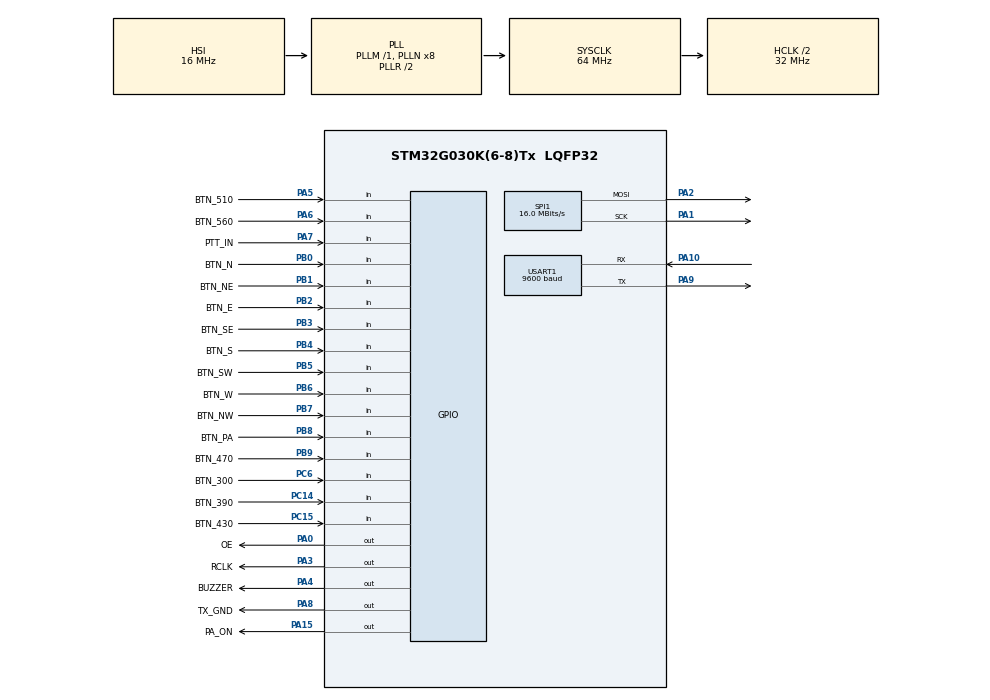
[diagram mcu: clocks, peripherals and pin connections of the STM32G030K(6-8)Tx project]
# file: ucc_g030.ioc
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Mcu.Family=STM32G0
Mcu.Name=STM32G030K(6-8)Tx
Mcu.Package=LQFP32
NVIC.TIM17_IRQn=true\:0\:0\:false\:false\:true\:true\:true\:true
NVIC.USART1_IRQn=true\:0\:0\:false\:false\:true\:true\:true\:true
PA0.GPIO_Label=OE
PA0.Signal=GPIO_Output
PA1.Mode=TX_Only_Simplex_Unidirect_Master
PA1.Signal=SPI1_SCK
PA10\ [PA12].Mode=Asynchronous
PA10\ [PA12].Signal=USART1_RX
PA13.Mode=Serial_Wire
PA13.Signal=SYS_SWDIO
PA14-BOOT0.Mode=Serial_Wire
PA14-BOOT0.Signal=SYS_SWCLK
PA15.GPIO_Label=PA_ON
PA15.Signal=GPIO_Output
PA2.Mode=TX_Only_Simplex_Unidirect_Master
PA2.Signal=SPI1_MOSI
PA3.GPIO_Label=RCLK
PA3.Signal=GPIO_Output
PA4.GPIO_Label=BUZZER
PA4.Signal=GPIO_Output
PA5.GPIO_Label=BTN_510
PA5.GPIO_PuPd=GPIO_PULLUP
PA5.Signal=GPIO_Input
PA6.GPIO_Label=BTN_560
PA6.GPIO_PuPd=GPIO_PULLUP
PA6.Signal=GPIO_Input
PA7.GPIO_Label=PTT_IN
PA7.GPIO_PuPd=GPIO_PULLUP
PA7.Signal=GPIO_Input
PA8.GPIO_Label=TX_GND
PA8.Signal=GPIO_Output
PA9\ [PA11].Mode=Asynchronous
PA9\ [PA11].Signal=USART1_TX
PB0.GPIO_Label=BTN_N
PB0.GPIO_PuPd=GPIO_PULLUP
PB0.Signal=GPIO_Input
PB1.GPIO_Label=BTN_NE
PB1.GPIO_PuPd=GPIO_PULLUP
PB1.Signal=GPIO_Input
PB2.GPIO_Label=BTN_E
PB2.GPIO_PuPd=GPIO_PULLUP
PB2.Signal=GPIO_Input
PB3.GPIO_Label=BTN_SE
PB3.GPIO_PuPd=GPIO_PULLUP
PB3.Signal=GPIO_Input
PB4.GPIO_Label=BTN_S
PB4.GPIO_PuPd=GPIO_PULLUP
PB4.Signal=GPIO_Input
PB5.GPIO_Label=BTN_SW
PB5.GPIO_PuPd=GPIO_PULLUP
PB5.Signal=GPIO_Input
PB6.GPIO_Label=BTN_W
PB6.GPIO_PuPd=GPIO_PULLUP
PB6.Signal=GPIO_Input
PB7.GPIO_Label=BTN_NW
PB7.GPIO_PuPd=GPIO_PULLUP
PB7.Signal=GPIO_Input
PB8.GPIO_Label=BTN_PA
PB8.GPIO_PuPd=GPIO_PULLUP
PB8.Signal=GPIO_Input
PB9.GPIO_Label=BTN_470
PB9.GPIO_PuPd=GPIO_PULLUP
PB9.Signal=GPIO_Input
PC14-OSC32_IN\ (PC14).GPIO_Label=BTN_390
PC14-OSC32_IN\ (PC14).GPIO_PuPd=GPIO_PULLUP
PC14-OSC32_IN\ (PC14).Signal=GPIO_Input
PC15-OSC32_OUT\ (PC15).GPIO_Label=BTN_430
PC15-OSC32_OUT\ (PC15).GPIO_PuPd=GPIO_PULLUP
PC15-OSC32_OUT\ (PC15).Signal=GPIO_Input
PC6.GPIO_Label=BTN_300
PC6.GPIO_PuPd=GPIO_PULLUP
PC6.Signal=GPIO_Input
ProjectManager.HeapSize=0x200
ProjectManager.StackSize=0x400
ProjectManager.TargetToolchain=STM32CubeIDE
RCC.ADCFreq_Value=64000000
RCC.AHBCLKDivider=RCC_SYSCLK_DIV2
RCC.AHBFreq_Value=32000000
RCC.CortexFreq_Value=32000000
RCC.EXTERNAL_CLOCK_VALUE=12288000
RCC.HCLKFreq_Value=32000000
RCC.HSE_VALUE=8000000
RCC.HSI_VALUE=16000000
RCC.LSE_VALUE=32768
RCC.SYSCLKFreq_VALUE=64000000
RCC.SYSCLKSource=RCC_SYSCLKSOURCE_PLLCLK
RCC.VCOOutputFreq_Value=128000000
SPI1.CalculateBaudRate=16.0 MBits/s
SPI1.Direction=SPI_DIRECTION_2LINES
SPI1.Mode=SPI_MODE_MASTER
SPI1.VirtualType=VM_MASTER
TIM17.AutoReloadPreload=TIM_AUTORELOAD_PRELOAD_ENABLE
TIM17.Period=499
TIM17.Prescaler=31999
USART1.BaudRate=9600
USART1.VirtualMode-Asynchronous=VM_ASYNC
VP_SYS_VS_PINREMAP.Mode=PINREMAP
VP_SYS_VS_PINREMAP_10_12.Mode=PINREMAP_10_12
VP_TIM17_VS_ClockSourceINT.Mode=Enable_Timer
board=custom

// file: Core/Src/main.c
/* USER CODE BEGIN Header */
/**
  ******************************************************************************
  * @file           : main.c
  * @brief          : Main program body
  ******************************************************************************
  * @attention
  *
  * Copyright (c) 2025 STMicroelectronics.
  * All rights reserved.
  *
  * This software is licensed under terms that can be found in the LICENSE file
  * in the root directory of this software component.
  * If no LICENSE file comes with this software, it is provided AS-IS.
  *
  ******************************************************************************
  */
/* USER CODE END Header */
#include "main.h"

SPI_HandleTypeDef hspi1;

void SystemClock_Config(void);
static void MX_GPIO_Init(void);
static void MX_SPI1_Init(void);
static void MX_USART1_UART_Init(void);
static void MX_TIM17_Init(void);
/* USER CODE BEGIN PFP */
void USART1_Send_String (char* str);
char* ConvertGradusToChar (uint32_t degree);
void Check_Usart_Data();
void USART1_Send (char chr);
uint32_t ConvertCharToGradus(char * buffer);
void Send_Azimuth_to_USART(int az);
uint8_t Button_Pressed(uint8_t btn_id);
void Init_Buttons();
void Buttons_Poll(void);
void Set_N(void);
void Set_NE(void);
void Set_E(void);
void Set_SE(void);
void Set_S(void);
void Set_SW(void);
void Set_W(void);
void Set_NW(void);
void Set_300(void);
void Set_390(void);
void Set_430(void);
void Set_470(void);
void Set_510(void);
void Set_560(void);
void Set_PA(void);
void Check_PTT(void);

/* USER CODE END PFP */

/* USER CODE BEGIN 0 */
uint8_t relay_outs[1] = {0};
uint8_t load_outs[1] = {0};
uint8_t udn_outs[1] = {0};
uint8_t led_outs[1] = {0};
uint8_t flag_stop = 0;
uint8_t flag_status = 0;
uint8_t flag_move = 0;
uint8_t flag_set_settings = 0;
uint8_t flag_get_settings = 0;
int current_azimuth = 0;
char rx_buffer[32];
uint8_t current_outs_settings[8];
static uint8_t pa_previous_state = 0;
static uint8_t ptt_active = 0;

uint8_t button_settings[8] = {1, 2, 4, 8, 16, 32, 64, 128};

#define BUTTON_COUNT 15
#define DEBOUNCE_MS 25
#define POLL_INTERVAL_MS 5

typedef struct {
  GPIO_TypeDef* port;
  uint32_t pin;
  uint8_t state;
  uint8_t prev_state;
  uint32_t last_change;
} Button;

static Button buttons[BUTTON_COUNT];
static uint32_t system_tick = 0;

// Объявляем тип для функций-обработчиков
typedef void (*ButtonHandler)(void);

// Массив обработчиков для каждой кнопки
static const ButtonHandler button_handlers[] = {
  Set_N,   // 0
  Set_NE,  // 1
  Set_E,   // 2
  Set_SE,  // 3
  Set_S,   // 4
  Set_SW,  // 5
  Set_W,   // 6
  Set_NW,  // 7
  Set_300, // 8
  Set_390, // 9
  Set_430, // 10
  Set_470, // 11
  Set_510, // 12
  Set_560, // 13
  Set_PA   // 14
};

#define SETTINGS_FLASH_ADDR  0x0800F800  // Последняя страница 2KB Flash
#define SETTINGS_MAGIC_NUM   0xAA55BB66  // Маркер валидности данных

typedef struct {
  uint32_t magic;      // Маркер валидности
  uint8_t btn_values[8]; // Значения кнопок (0-255)
  uint32_t crc32;      // Контрольная сумма
} ButtonSettings;

uint32_t Calculate_CRC32(const uint8_t* data, size_t length) {
  uint32_t crc = 0xFFFFFFFF;
  for (size_t i = 0; i < length; i++) {
    crc ^= data[i];
    for (int j = 0; j < 8; j++) {
      crc = (crc >> 1) ^ (0xEDB88320 & -(crc & 1));
    }
  }
  return ~crc;
}

HAL_StatusTypeDef Save_Button_Settings(const uint8_t* values) {
  ButtonSettings settings;

  // Подготовка структуры
  settings.magic = SETTINGS_MAGIC_NUM;
  memcpy(settings.btn_values, values, 8);
  settings.crc32 = Calculate_CRC32((uint8_t*)&settings, sizeof(ButtonSettings)-4);

  // Стирание страницы
  HAL_FLASH_Unlock();
  FLASH_EraseInitTypeDef erase = {
    .TypeErase = FLASH_TYPEERASE_PAGES,
    .Page = (SETTINGS_FLASH_ADDR - FLASH_BASE) / FLASH_PAGE_SIZE,
    .NbPages = 1
};
  uint32_t page_error;
  HAL_FLASHEx_Erase(&erase, &page_error);

  // Запись данных
  uint64_t* data = (uint64_t*)&settings;
  for (int i = 0; i < sizeof(ButtonSettings)/8; i++) {
    HAL_FLASH_Program(FLASH_TYPEPROGRAM_DOUBLEWORD,
                    SETTINGS_FLASH_ADDR + i*8,
                    data[i]);
  }
  HAL_FLASH_Lock();

  return HAL_OK;
}

HAL_StatusTypeDef Load_Button_Settings(uint8_t* values) {
  ButtonSettings* settings = (ButtonSettings*)SETTINGS_FLASH_ADDR;

  // Проверка маркера и CRC
  if (settings->magic != SETTINGS_MAGIC_NUM ||
      settings->crc32 != Calculate_CRC32((uint8_t*)settings, sizeof(ButtonSettings)-4)) {
    return HAL_ERROR; // Данные невалидны
      }

  memcpy(values, settings->btn_values, 8);
  return HAL_OK;
}

void Beep(uint32_t duration_ms) {
  LL_GPIO_SetOutputPin(BUZZER_GPIO_Port, BUZZER_Pin);
  LL_mDelay(duration_ms);
  LL_GPIO_ResetOutputPin(BUZZER_GPIO_Port, BUZZER_Pin);
}

void Buttons_Poll(void) {
  system_tick += POLL_INTERVAL_MS;
  if (system_tick >= UINT32_MAX - POLL_INTERVAL_MS) system_tick = 0;
}

void Init_Buttons(void) {
  // Конфигурация всех кнопок
  const struct {
    GPIO_TypeDef* port;
    uint32_t pin;
  } button_configs[] = {
    [0] = {BTN_N_GPIO_Port, BTN_N_Pin},
    [1] = {BTN_NE_GPIO_Port, BTN_NE_Pin},
    [2] = {BTN_E_GPIO_Port, BTN_E_Pin},
    [3] = {BTN_SE_GPIO_Port, BTN_SE_Pin},
    [4] = {BTN_S_GPIO_Port, BTN_S_Pin},
    [5] = {BTN_SW_GPIO_Port, BTN_SW_Pin},
    [6] = {BTN_W_GPIO_Port, BTN_W_Pin},
    [7] = {BTN_NW_GPIO_Port, BTN_NW_Pin},
    [8] = {BTN_300_GPIO_Port, BTN_300_Pin},
    [9] = {BTN_390_GPIO_Port, BTN_390_Pin},
    [10] = {BTN_430_GPIO_Port, BTN_430_Pin},
    [11] = {BTN_470_GPIO_Port, BTN_470_Pin},
    [12] = {BTN_510_GPIO_Port, BTN_510_Pin},
    [13] = {BTN_560_GPIO_Port, BTN_560_Pin},
    [14] = {BTN_PA_GPIO_Port, BTN_PA_Pin}
  };
  const uint8_t button_count = sizeof(button_configs)/sizeof(button_configs[0]);
  for (uint8_t i = 0; i < button_count; i++) {
    buttons[i] = (Button){
      .port = button_configs[i].port,
      .pin = button_configs[i].pin,
      .state = 0,          // Исходное состояние - не нажата
      .prev_state = 0,     // Предыдущее состояние - не нажата
      .last_change = 0     // Время последнего изменения
    };
  }
}

// Проверка нажатия кнопки (возвращает 1 при нажатии)
uint8_t Button_Pressed(uint8_t btn_id) {
  if (btn_id >= BUTTON_COUNT) return 0;

  Button* btn = &buttons[btn_id];
  uint8_t current = LL_GPIO_IsInputPinSet(btn->port, btn->pin) ? 0 : 1;

  // Если состояние изменилось
  if (current != btn->prev_state) {
    btn->last_change = system_tick;
    btn->prev_state = current;
  }
  // Если состояние стабильно дольше времени дребезга
  else if ((system_tick - btn->last_change) >= DEBOUNCE_MS) {
    if (current && !btn->state) {
      btn->state = current;
      return 1;
    }
    btn->state = current;
  }

  return 0;
}

uint32_t ConvertCharToGradus(char* buffer) {
  uint32_t result = (buffer[1] - '0') * 100 +
                   (buffer[2] - '0') * 10 +
                   (buffer[3] - '0');
  memset(buffer, 0, 6);
  return result;
}

char* ConvertGradusToChar(uint32_t degree)
{
  static char result[10];
  degree = degree % 1000;
  snprintf(result, sizeof(result), "+0%03d\r\n", degree);
  return result;
}

void Send_Azimuth_to_USART(int az) {
  if (((az>=0) && (az<= 22)) ||(az > 337)&&(az<=360))
    current_azimuth = 0;
  if ((az>=23) && (az<= 67))
    current_azimuth = 45;
  if ((az>=68) && (az<= 112))
    current_azimuth = 90;
  if ((az>=113) && (az<= 157))
    current_azimuth = 135;
  if ((az>=158) && (az<= 202))
    current_azimuth = 180;
  if ((az>=203) && (az<= 247))
    current_azimuth = 225;
  if ((az>=248) && (az<= 292))
    current_azimuth = 270;
  if ((az>=293) && (az<= 337))
    current_azimuth = 315;
  USART1_Send_String(ConvertGradusToChar(current_azimuth));
}

void Check_Usart_Data()
{
  if (flag_status)
  {
    char debug_msg[64];
    flag_status = 0;
    memset(rx_buffer, 0, sizeof(rx_buffer));
    USART1_Send_String(ConvertGradusToChar(current_azimuth));
  }
  else if (flag_move)
  {
    int azimuth_from_usart = 0;
    flag_move = 0;
    azimuth_from_usart = ConvertCharToGradus(rx_buffer);
    Send_Azimuth_to_USART(azimuth_from_usart);
    switch (current_azimuth){
      case 0: Set_N(); break;
      case 45: Set_NE(); break;
      case 90: Set_E(); break;
      case 135: Set_SE(); break;
      case 180: Set_S(); break;
      case 225: Set_SW(); break;
      case 270: Set_W(); break;
      case 315: Set_NW(); break;
    }
  }
  else if (flag_stop)
  {
    flag_stop = 0;
  }
  else if (flag_set_settings){
    flag_set_settings = 0;
    if (Save_Button_Settings(current_outs_settings) == HAL_OK) {
      USART1_Send_String("OK: Settings saved\n");
    } else {
      USART1_Send_String("ERR: Save failed\n");
    }
    USART1_Send_String("Values:");
    for (int i = 0; i < 8; i++) {
      char buf[10];
      snprintf(buf, sizeof(buf), " %d", current_outs_settings[i]);
      USART1_Send_String(buf);
    }
    USART1_Send_String("\n");
    Beep(50);
  }
  else if (flag_get_settings) {
    flag_get_settings = 0;
    if (Load_Button_Settings(button_settings) != HAL_OK) {
      memset(button_settings, 0, 8);
    }
    USART1_Send_String("Values:");
    for (int i = 0; i < 8; i++) {
      char buf[10];
      snprintf(buf, sizeof(buf), " %d", current_outs_settings[i]);
      USART1_Send_String(buf);
    }
    USART1_Send_String("\n");
  }
}

void Say_Hi(void) {
  LL_GPIO_SetOutputPin(BUZZER_GPIO_Port, BUZZER_Pin);
  LL_mDelay(50);
  LL_GPIO_ResetOutputPin(BUZZER_GPIO_Port, BUZZER_Pin);
  LL_mDelay(50);
  LL_GPIO_SetOutputPin(BUZZER_GPIO_Port, BUZZER_Pin);
  LL_mDelay(50);
  LL_GPIO_ResetOutputPin(BUZZER_GPIO_Port, BUZZER_Pin);
  LL_mDelay(50);
  LL_GPIO_SetOutputPin(BUZZER_GPIO_Port, BUZZER_Pin);
  LL_mDelay(50);
  LL_GPIO_ResetOutputPin(BUZZER_GPIO_Port, BUZZER_Pin);
  LL_mDelay(50);
  LL_GPIO_SetOutputPin(BUZZER_GPIO_Port, BUZZER_Pin);
  LL_mDelay(50);
  LL_GPIO_ResetOutputPin(BUZZER_GPIO_Port, BUZZER_Pin);
  LL_mDelay(150);
  LL_GPIO_SetOutputPin(BUZZER_GPIO_Port, BUZZER_Pin);
  LL_mDelay(50);
  LL_GPIO_ResetOutputPin(BUZZER_GPIO_Port, BUZZER_Pin);
  LL_mDelay(50);
  LL_GPIO_SetOutputPin(BUZZER_GPIO_Port, BUZZER_Pin);
  LL_mDelay(50);
  LL_GPIO_ResetOutputPin(BUZZER_GPIO_Port, BUZZER_Pin);
  LL_mDelay(50);
}

void USART1_Send (char chr){
  while (!(USART1->ISR & USART_ISR_TC));
  USART1->TDR = chr;
}

void USART1_Send_String (char* str){
  uint8_t i = 0;
  while(str[i])
    USART1_Send (str[i++]);
}

void SetCS()
{
  LL_GPIO_SetOutputPin(RCLK_GPIO_Port, RCLK_Pin);
}

void ResetCS()
{
  LL_GPIO_ResetOutputPin(RCLK_GPIO_Port, RCLK_Pin);
}

void StrobCS()
{
  SetCS();
  ResetCS();
  LL_GPIO_ResetOutputPin(OE_GPIO_Port, OE_Pin);
}

void HC595_Send() {
  ResetCS();
  HAL_SPI_Transmit(&hspi1,(uint8_t*)led_outs, 1, 500);
  HAL_SPI_Transmit(&hspi1,(uint8_t*)udn_outs, 1, 500);
  HAL_SPI_Transmit(&hspi1,(uint8_t*)load_outs, 1, 500);
  HAL_SPI_Transmit(&hspi1,(uint8_t*)relay_outs, 1, 500);
  StrobCS();
}

void Check_Buttons() {
  for (uint8_t i = 0; i < sizeof(button_handlers)/sizeof(button_handlers[0]); i++) {
    if (Button_Pressed(i)) {
      button_handlers[i]();
    }
  }
}

void Set_N() {
  current_azimuth = 0;
  Send_Azimuth_to_USART(current_azimuth);
  led_outs[0] = 0b00000001;
  relay_outs[0] = 0b00001000;
  udn_outs[0] = current_outs_settings[0];
  HC595_Send();
}

void Set_NE() {
  current_azimuth = 45;
  Send_Azimuth_to_USART(current_azimuth);
  led_outs[0] = 0b00000010;
  relay_outs[0] = 0b00001001;
  udn_outs[0] = current_outs_settings[1];
  HC595_Send();
}

void Set_E() {
  current_azimuth = 90;
  Send_Azimuth_to_USART(current_azimuth);
  led_outs[0] = 0b00000100;
  relay_outs[0] = 0b00001100;
  udn_outs[0] = current_outs_settings[2];
  HC595_Send();
}

void Set_SE() {
  current_azimuth = 135;
  Send_Azimuth_to_USART(current_azimuth);
  led_outs[0] = 0b00001000;
  relay_outs[0] = 0b00000010;
  udn_outs[0] = current_outs_settings[3];
  HC595_Send();
}

void Set_S() {
  current_azimuth = 180;
  Send_Azimuth_to_USART(current_azimuth);
  led_outs[0] = 0b00010000;
  relay_outs[0] = 0b00000000;
  udn_outs[0] = current_outs_settings[4];
  HC595_Send();
}

void Set_SW() {
  current_azimuth = 225;
  Send_Azimuth_to_USART(current_azimuth);
  led_outs[0] = 0b00100000;
  relay_outs[0] = 0b00000001;
  udn_outs[0] = current_outs_settings[5];
  HC595_Send();
}

void Set_W() {
  current_azimuth = 270;
  Send_Azimuth_to_USART(current_azimuth);
  led_outs[0] = 0b01000000;
  relay_outs[0] = 0b00000100;
  udn_outs[0] = current_outs_settings[6];
  HC595_Send();
}

void Set_NW() {
  current_azimuth = 315;
  Send_Azimuth_to_USART(current_azimuth);
  led_outs[0] = 0b10000000;
  relay_outs[0] = 0b00001010;
  udn_outs[0] = current_outs_settings[7];
  HC595_Send();
}

void Set_300() {
  load_outs[0] = 0b00000001;
  HC595_Send();
}

void Set_390() {
  load_outs[0] = 0b00000010;
  HC595_Send();
}

void Set_430() {
  load_outs[0] = 0b00000100;
  HC595_Send();
}

void Set_470() {
  load_outs[0] = 0b00001000;
  HC595_Send();
}

void Set_510() {
  load_outs[0] = 0b00010000;
  HC595_Send();
}

void Set_560() {
  load_outs[0] = 0b00100000;
  HC595_Send();
}

void Set_PA() {
  LL_GPIO_TogglePin(PA_ON_GPIO_Port, PA_ON_Pin);
}

void Check_PTT(void) {
  static uint32_t last_ptt_change = 0;
  uint8_t current_ptt_state = !LL_GPIO_IsInputPinSet(PTT_IN_GPIO_Port, PTT_IN_Pin);
  if ((system_tick - last_ptt_change) >= DEBOUNCE_MS) {
    if (current_ptt_state && !ptt_active) {
      pa_previous_state = LL_GPIO_IsOutputPinSet(PA_ON_GPIO_Port, PA_ON_Pin);
      LL_GPIO_ResetOutputPin(PA_ON_GPIO_Port, PA_ON_Pin);
      LL_GPIO_SetOutputPin(TX_GND_GPIO_Port, TX_GND_Pin);
      ptt_active = 1;
      last_ptt_change = system_tick;
    }
    else if (!current_ptt_state && ptt_active) {
      if (pa_previous_state) {
        LL_GPIO_SetOutputPin(PA_ON_GPIO_Port, PA_ON_Pin);
      } else {
        LL_GPIO_ResetOutputPin(PA_ON_GPIO_Port, PA_ON_Pin);
      }
      LL_GPIO_ResetOutputPin(TX_GND_GPIO_Port, TX_GND_Pin);
      ptt_active = 0;
      last_ptt_change = system_tick;
    }
  }
}

/* USER CODE END 0 */

int main(void)
{

  /* MCU Configuration--------------------------------------------------------*/

  /* Reset of all peripherals, Initializes the Flash interface and the Systick. */
  HAL_Init();

  /* Configure the system clock */
  SystemClock_Config();

  /* Initialize all configured peripherals */
  MX_GPIO_Init();
  MX_SPI1_Init();
  MX_USART1_UART_Init();
  MX_TIM17_Init();
  /* USER CODE BEGIN 2 */
  LL_USART_Enable(USART2);
  LL_USART_EnableIT_RXNE(USART1);
  Init_Buttons();
  relay_outs[0] = 0;
  load_outs[0] = 0;
  udn_outs[0] = 0;
  led_outs[0] = 0;
  HC595_Send();
  Say_Hi();
  Load_Button_Settings(current_outs_settings);
  if (current_outs_settings[0] == 0xFF) {
    Save_Button_Settings(button_settings);
    Load_Button_Settings(current_outs_settings);
  }

  /* USER CODE END 2 */

  /* Infinite loopc */
  /* USER CODE BEGIN WHILE */
  while (1)
  {
    Check_Usart_Data();
    Buttons_Poll();
    Check_Buttons();
    Check_PTT();
    /* USER CODE END WHILE */

  }
}

void SystemClock_Config(void)
{
  RCC_OscInitTypeDef RCC_OscInitStruct = {0};
  RCC_ClkInitTypeDef RCC_ClkInitStruct = {0};

  /** Configure the main internal regulator output voltage
  */
  HAL_PWREx_ControlVoltageScaling(PWR_REGULATOR_VOLTAGE_SCALE1);

  /** Initializes the RCC Oscillators according to the specified parameters
  * in the RCC_OscInitTypeDef structure.
  */
  RCC_OscInitStruct.OscillatorType = RCC_OSCILLATORTYPE_HSI;
  RCC_OscInitStruct.HSIState = RCC_HSI_ON;
  RCC_OscInitStruct.HSIDiv = RCC_HSI_DIV1;
  RCC_OscInitStruct.HSICalibrationValue = RCC_HSICALIBRATION_DEFAULT;
  RCC_OscInitStruct.PLL.PLLState = RCC_PLL_ON;
  RCC_OscInitStruct.PLL.PLLSource = RCC_PLLSOURCE_HSI;
  RCC_OscInitStruct.PLL.PLLM = RCC_PLLM_DIV1;
  RCC_OscInitStruct.PLL.PLLN = 8;
  RCC_OscInitStruct.PLL.PLLP = RCC_PLLP_DIV2;
  RCC_OscInitStruct.PLL.PLLR = RCC_PLLR_DIV2;
  if (HAL_RCC_OscConfig(&RCC_OscInitStruct) != HAL_OK)
  {
    Error_Handler();
  }

  /** Initializes the CPU, AHB and APB buses clocks
  */
  RCC_ClkInitStruct.ClockType = RCC_CLOCKTYPE_HCLK|RCC_CLOCKTYPE_SYSCLK
                              |RCC_CLOCKTYPE_PCLK1;
  RCC_ClkInitStruct.SYSCLKSource = RCC_SYSCLKSOURCE_PLLCLK;
  RCC_ClkInitStruct.AHBCLKDivider = RCC_SYSCLK_DIV2;
  RCC_ClkInitStruct.APB1CLKDivider = RCC_HCLK_DIV1;

  if (HAL_RCC_ClockConfig(&RCC_ClkInitStruct, FLASH_LATENCY_1) != HAL_OK)
  {
    Error_Handler();
  }
}

static void MX_SPI1_Init(void)
{

  /* SPI1 parameter configuration*/
  hspi1.Instance = SPI1;
  hspi1.Init.Mode = SPI_MODE_MASTER;
  hspi1.Init.Direction = SPI_DIRECTION_2LINES;
  hspi1.Init.DataSize = SPI_DATASIZE_8BIT;
  hspi1.Init.CLKPolarity = SPI_POLARITY_LOW;
  hspi1.Init.CLKPhase = SPI_PHASE_1EDGE;
  hspi1.Init.NSS = SPI_NSS_SOFT;
  hspi1.Init.BaudRatePrescaler = SPI_BAUDRATEPRESCALER_16;
  hspi1.Init.FirstBit = SPI_FIRSTBIT_MSB;
  hspi1.Init.TIMode = SPI_TIMODE_DISABLE;
  hspi1.Init.CRCCalculation = SPI_CRCCALCULATION_DISABLE;
  hspi1.Init.CRCPolynomial = 7;
  //hspi1.Init.CRCLength = SPI_CRC_LENGTH_DATASIZE;
  //hspi1.Init.NSSPMode = SPI_NSS_PULSE_ENABLE;
  if (HAL_SPI_Init(&hspi1) != HAL_OK)
  {
    Error_Handler();
  }

}

static void MX_TIM17_Init(void)
{

  LL_TIM_InitTypeDef TIM_InitStruct = {0};

  /* Peripheral clock enable */
  LL_APB2_GRP1_EnableClock(LL_APB2_GRP1_PERIPH_TIM17);

  /* TIM17 interrupt Init */
  NVIC_SetPriority(TIM17_IRQn, 0);
  NVIC_EnableIRQ(TIM17_IRQn);

  TIM_InitStruct.Prescaler = 31999;
  TIM_InitStruct.CounterMode = LL_TIM_COUNTERMODE_UP;
  TIM_InitStruct.Autoreload = 499;
  TIM_InitStruct.ClockDivision = LL_TIM_CLOCKDIVISION_DIV1;
  TIM_InitStruct.RepetitionCounter = 0;
  LL_TIM_Init(TIM17, &TIM_InitStruct);
  LL_TIM_EnableARRPreload(TIM17);

}

static void MX_USART1_UART_Init(void)
{

  LL_USART_InitTypeDef USART_InitStruct = {0};

  LL_GPIO_InitTypeDef GPIO_InitStruct = {0};
  RCC_PeriphCLKInitTypeDef PeriphClkInit = {0};

  /** Initializes the peripherals clocks
  */
  PeriphClkInit.PeriphClockSelection = RCC_PERIPHCLK_USART1;
  PeriphClkInit.Usart1ClockSelection = RCC_USART1CLKSOURCE_PCLK1;
  if (HAL_RCCEx_PeriphCLKConfig(&PeriphClkInit) != HAL_OK)
  {
    Error_Handler();
  }

  /* Peripheral clock enable */
  LL_APB2_GRP1_EnableClock(LL_APB2_GRP1_PERIPH_USART1);

  LL_IOP_GRP1_EnableClock(LL_IOP_GRP1_PERIPH_GPIOA);
  /**USART1 GPIO Configuration
  PA9 [PA11]   ------> USART1_TX
  PA10 [PA12]   ------> USART1_RX
  */
  GPIO_InitStruct.Pin = LL_GPIO_PIN_9;
  GPIO_InitStruct.Mode = LL_GPIO_MODE_ALTERNATE;
  GPIO_InitStruct.Speed = LL_GPIO_SPEED_FREQ_LOW;
  GPIO_InitStruct.OutputType = LL_GPIO_OUTPUT_PUSHPULL;
  GPIO_InitStruct.Pull = LL_GPIO_PULL_NO;
  GPIO_InitStruct.Alternate = LL_GPIO_AF_1;
  LL_GPIO_Init(GPIOA, &GPIO_InitStruct);

  GPIO_InitStruct.Pin = LL_GPIO_PIN_10;
  GPIO_InitStruct.Mode = LL_GPIO_MODE_ALTERNATE;
  GPIO_InitStruct.Speed = LL_GPIO_SPEED_FREQ_LOW;
  GPIO_InitStruct.OutputType = LL_GPIO_OUTPUT_PUSHPULL;
  GPIO_InitStruct.Pull = LL_GPIO_PULL_NO;
  GPIO_InitStruct.Alternate = LL_GPIO_AF_1;
  LL_GPIO_Init(GPIOA, &GPIO_InitStruct);

  /* USART1 interrupt Init */
  NVIC_SetPriority(USART1_IRQn, 0);
  NVIC_EnableIRQ(USART1_IRQn);

  USART_InitStruct.PrescalerValue = LL_USART_PRESCALER_DIV1;
  USART_InitStruct.BaudRate = 9600;
  USART_InitStruct.DataWidth = LL_USART_DATAWIDTH_8B;
  USART_InitStruct.StopBits = LL_USART_STOPBITS_1;
  USART_InitStruct.Parity = LL_USART_PARITY_NONE;
  USART_InitStruct.TransferDirection = LL_USART_DIRECTION_TX_RX;
  USART_InitStruct.HardwareFlowControl = LL_USART_HWCONTROL_NONE;
  USART_InitStruct.OverSampling = LL_USART_OVERSAMPLING_16;
  LL_USART_Init(USART1, &USART_InitStruct);
  LL_USART_SetTXFIFOThreshold(USART1, LL_USART_FIFOTHRESHOLD_1_8);
  LL_USART_SetRXFIFOThreshold(USART1, LL_USART_FIFOTHRESHOLD_1_8);
  LL_USART_DisableFIFO(USART1);
  LL_USART_ConfigAsyncMode(USART1);

  LL_USART_Enable(USART1);

  /* Polling USART1 initialisation */
  while((!(LL_USART_IsActiveFlag_TEACK(USART1))) || (!(LL_USART_IsActiveFlag_REACK(USART1))))
  {
  }

}

static void MX_GPIO_Init(void)
{
  LL_GPIO_InitTypeDef GPIO_InitStruct = {0};

  /* GPIO Ports Clock Enable */
  LL_IOP_GRP1_EnableClock(LL_IOP_GRP1_PERIPH_GPIOB);
  LL_IOP_GRP1_EnableClock(LL_IOP_GRP1_PERIPH_GPIOC);
  LL_IOP_GRP1_EnableClock(LL_IOP_GRP1_PERIPH_GPIOA);

  /**/
  LL_GPIO_ResetOutputPin(OE_GPIO_Port, OE_Pin);

  /**/
  LL_GPIO_ResetOutputPin(RCLK_GPIO_Port, RCLK_Pin);

  /**/
  LL_GPIO_ResetOutputPin(BUZZER_GPIO_Port, BUZZER_Pin);

  /**/
  LL_GPIO_ResetOutputPin(TX_GND_GPIO_Port, TX_GND_Pin);

  /**/
  LL_GPIO_ResetOutputPin(PA_ON_GPIO_Port, PA_ON_Pin);

  /**/
  GPIO_InitStruct.Pin = BTN_470_Pin;
  GPIO_InitStruct.Mode = LL_GPIO_MODE_INPUT;
  GPIO_InitStruct.Pull = LL_GPIO_PULL_UP;
  LL_GPIO_Init(BTN_470_GPIO_Port, &GPIO_InitStruct);

  /**/
  GPIO_InitStruct.Pin = BTN_390_Pin;
  GPIO_InitStruct.Mode = LL_GPIO_MODE_INPUT;
  GPIO_InitStruct.Pull = LL_GPIO_PULL_UP;
  LL_GPIO_Init(BTN_390_GPIO_Port, &GPIO_InitStruct);

  /**/
  GPIO_InitStruct.Pin = BTN_430_Pin;
  GPIO_InitStruct.Mode = LL_GPIO_MODE_INPUT;
  GPIO_InitStruct.Pull = LL_GPIO_PULL_UP;
  LL_GPIO_Init(BTN_430_GPIO_Port, &GPIO_InitStruct);

  /**/
  GPIO_InitStruct.Pin = OE_Pin;
  GPIO_InitStruct.Mode = LL_GPIO_MODE_OUTPUT;
  GPIO_InitStruct.Speed = LL_GPIO_SPEED_FREQ_LOW;
  GPIO_InitStruct.OutputType = LL_GPIO_OUTPUT_PUSHPULL;
  GPIO_InitStruct.Pull = LL_GPIO_PULL_NO;
  LL_GPIO_Init(OE_GPIO_Port, &GPIO_InitStruct);

  /**/
  GPIO_InitStruct.Pin = RCLK_Pin;
  GPIO_InitStruct.Mode = LL_GPIO_MODE_OUTPUT;
  GPIO_InitStruct.Speed = LL_GPIO_SPEED_FREQ_LOW;
  GPIO_InitStruct.OutputType = LL_GPIO_OUTPUT_PUSHPULL;
  GPIO_InitStruct.Pull = LL_GPIO_PULL_NO;
  LL_GPIO_Init(RCLK_GPIO_Port, &GPIO_InitStruct);

  /**/
  GPIO_InitStruct.Pin = BUZZER_Pin;
  GPIO_InitStruct.Mode = LL_GPIO_MODE_OUTPUT;
  GPIO_InitStruct.Speed = LL_GPIO_SPEED_FREQ_LOW;
  GPIO_InitStruct.OutputType = LL_GPIO_OUTPUT_PUSHPULL;
  GPIO_InitStruct.Pull = LL_GPIO_PULL_NO;
  LL_GPIO_Init(BUZZER_GPIO_Port, &GPIO_InitStruct);

  /**/
  GPIO_InitStruct.Pin = BTN_510_Pin;
  GPIO_InitStruct.Mode = LL_GPIO_MODE_INPUT;
  GPIO_InitStruct.Pull = LL_GPIO_PULL_UP;
  LL_GPIO_Init(BTN_510_GPIO_Port, &GPIO_InitStruct);

  /**/
  GPIO_InitStruct.Pin = BTN_560_Pin;
  GPIO_InitStruct.Mode = LL_GPIO_MODE_INPUT;
  GPIO_InitStruct.Pull = LL_GPIO_PULL_UP;
  LL_GPIO_Init(BTN_560_GPIO_Port, &GPIO_InitStruct);

  /**/
  GPIO_InitStruct.Pin = PTT_IN_Pin;
  GPIO_InitStruct.Mode = LL_GPIO_MODE_INPUT;
  GPIO_InitStruct.Pull = LL_GPIO_PULL_UP;
  LL_GPIO_Init(PTT_IN_GPIO_Port, &GPIO_InitStruct);

  /**/
  GPIO_InitStruct.Pin = BTN_N_Pin;
  GPIO_InitStruct.Mode = LL_GPIO_MODE_INPUT;
  GPIO_InitStruct.Pull = LL_GPIO_PULL_UP;
  LL_GPIO_Init(BTN_N_GPIO_Port, &GPIO_InitStruct);

  /**/
  GPIO_InitStruct.Pin = BTN_NE_Pin;
  GPIO_InitStruct.Mode = LL_GPIO_MODE_INPUT;
  GPIO_InitStruct.Pull = LL_GPIO_PULL_UP;
  LL_GPIO_Init(BTN_NE_GPIO_Port, &GPIO_InitStruct);

  /**/
  GPIO_InitStruct.Pin = BTN_E_Pin;
  GPIO_InitStruct.Mode = LL_GPIO_MODE_INPUT;
  GPIO_InitStruct.Pull = LL_GPIO_PULL_UP;
  LL_GPIO_Init(BTN_E_GPIO_Port, &GPIO_InitStruct);

  /**/
  GPIO_InitStruct.Pin = TX_GND_Pin;
  GPIO_InitStruct.Mode = LL_GPIO_MODE_OUTPUT;
  GPIO_InitStruct.Speed = LL_GPIO_SPEED_FREQ_LOW;
  GPIO_InitStruct.OutputType = LL_GPIO_OUTPUT_PUSHPULL;
  GPIO_InitStruct.Pull = LL_GPIO_PULL_NO;
  LL_GPIO_Init(TX_GND_GPIO_Port, &GPIO_InitStruct);

  /**/
  GPIO_InitStruct.Pin = BTN_300_Pin;
  GPIO_InitStruct.Mode = LL_GPIO_MODE_INPUT;
  GPIO_InitStruct.Pull = LL_GPIO_PULL_UP;
  LL_GPIO_Init(BTN_300_GPIO_Port, &GPIO_InitStruct);

  /**/
  GPIO_InitStruct.Pin = PA_ON_Pin;
  GPIO_InitStruct.Mode = LL_GPIO_MODE_OUTPUT;
  GPIO_InitStruct.Speed = LL_GPIO_SPEED_FREQ_LOW;
  GPIO_InitStruct.OutputType = LL_GPIO_OUTPUT_PUSHPULL;
  GPIO_InitStruct.Pull = LL_GPIO_PULL_NO;
  LL_GPIO_Init(PA_ON_GPIO_Port, &GPIO_InitStruct);

  /**/
  GPIO_InitStruct.Pin = BTN_SE_Pin;
  GPIO_InitStruct.Mode = LL_GPIO_MODE_INPUT;
  GPIO_InitStruct.Pull = LL_GPIO_PULL_UP;
  LL_GPIO_Init(BTN_SE_GPIO_Port, &GPIO_InitStruct);

  /**/
  GPIO_InitStruct.Pin = BTN_S_Pin;
  GPIO_InitStruct.Mode = LL_GPIO_MODE_INPUT;
  GPIO_InitStruct.Pull = LL_GPIO_PULL_UP;
  LL_GPIO_Init(BTN_S_GPIO_Port, &GPIO_InitStruct);

  /**/
  GPIO_InitStruct.Pin = BTN_SW_Pin;
  GPIO_InitStruct.Mode = LL_GPIO_MODE_INPUT;
  GPIO_InitStruct.Pull = LL_GPIO_PULL_UP;
  LL_GPIO_Init(BTN_SW_GPIO_Port, &GPIO_InitStruct);

  /**/
  GPIO_InitStruct.Pin = BTN_W_Pin;
  GPIO_InitStruct.Mode = LL_GPIO_MODE_INPUT;
  GPIO_InitStruct.Pull = LL_GPIO_PULL_UP;
  LL_GPIO_Init(BTN_W_GPIO_Port, &GPIO_InitStruct);

  /**/
  GPIO_InitStruct.Pin = BTN_NW_Pin;
  GPIO_InitStruct.Mode = LL_GPIO_MODE_INPUT;
  GPIO_InitStruct.Pull = LL_GPIO_PULL_UP;
  LL_GPIO_Init(BTN_NW_GPIO_Port, &GPIO_InitStruct);

  /**/
  GPIO_InitStruct.Pin = BTN_PA_Pin;
  GPIO_InitStruct.Mode = LL_GPIO_MODE_INPUT;
  GPIO_InitStruct.Pull = LL_GPIO_PULL_UP;
  LL_GPIO_Init(BTN_PA_GPIO_Port, &GPIO_InitStruct);

}

void Error_Handler(void)
{
  __disable_irq();
  while (1)
  {
  }
}
